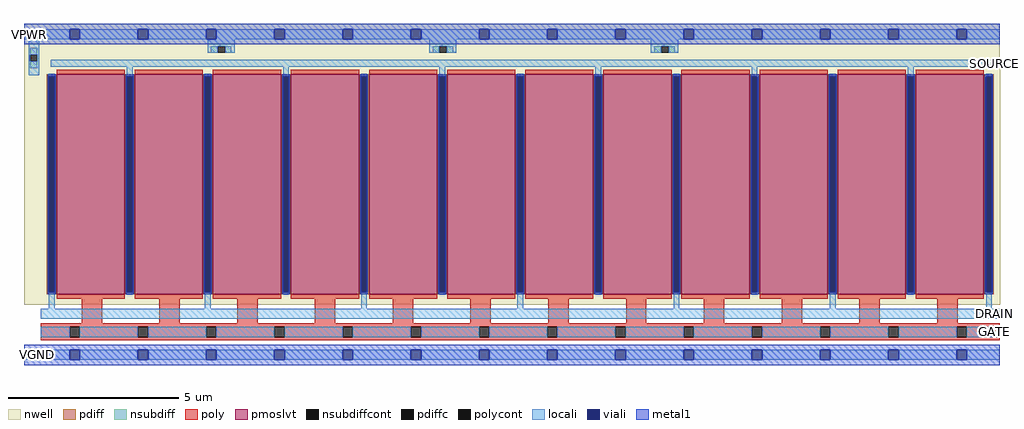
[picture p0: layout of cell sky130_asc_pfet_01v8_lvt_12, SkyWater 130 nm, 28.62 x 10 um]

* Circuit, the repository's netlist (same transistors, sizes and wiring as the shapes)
* NGSPICE file created from sky130_asc_pfet_01v8_lvt_12.ext - technology: sky130A

.subckt sky130_asc_pfet_01v8_lvt_12 GATE SOURCE DRAIN VGND VPWR
X0 SOURCE GATE DRAIN VPWR sky130_fd_pr__pfet_01v8_lvt ad=1.1223e+13p pd=8.088e+07u as=1.30935e+13p ps=9.436e+07u w=6.45e+06u l=2e+06u
X1 SOURCE GATE DRAIN VPWR sky130_fd_pr__pfet_01v8_lvt ad=0p pd=0u as=0p ps=0u w=6.45e+06u l=2e+06u
X2 DRAIN GATE SOURCE VPWR sky130_fd_pr__pfet_01v8_lvt ad=0p pd=0u as=0p ps=0u w=6.45e+06u l=2e+06u
X3 DRAIN GATE SOURCE VPWR sky130_fd_pr__pfet_01v8_lvt ad=0p pd=0u as=0p ps=0u w=6.45e+06u l=2e+06u
X4 SOURCE GATE DRAIN VPWR sky130_fd_pr__pfet_01v8_lvt ad=0p pd=0u as=0p ps=0u w=6.45e+06u l=2e+06u
X5 DRAIN GATE SOURCE VPWR sky130_fd_pr__pfet_01v8_lvt ad=0p pd=0u as=0p ps=0u w=6.45e+06u l=2e+06u
X6 DRAIN GATE SOURCE VPWR sky130_fd_pr__pfet_01v8_lvt ad=0p pd=0u as=0p ps=0u w=6.45e+06u l=2e+06u
X7 SOURCE GATE DRAIN VPWR sky130_fd_pr__pfet_01v8_lvt ad=0p pd=0u as=0p ps=0u w=6.45e+06u l=2e+06u
X8 SOURCE GATE DRAIN VPWR sky130_fd_pr__pfet_01v8_lvt ad=0p pd=0u as=0p ps=0u w=6.45e+06u l=2e+06u
X9 DRAIN GATE SOURCE VPWR sky130_fd_pr__pfet_01v8_lvt ad=0p pd=0u as=0p ps=0u w=6.45e+06u l=2e+06u
X10 DRAIN GATE SOURCE VPWR sky130_fd_pr__pfet_01v8_lvt ad=0p pd=0u as=0p ps=0u w=6.45e+06u l=2e+06u
X11 SOURCE GATE DRAIN VPWR sky130_fd_pr__pfet_01v8_lvt ad=0p pd=0u as=0p ps=0u w=6.45e+06u l=2e+06u
.ends

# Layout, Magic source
magic
tech sky130A
magscale 1 2
<< nwell >>
rect 120 1707 5842 1940
rect 120 294 5843 1707
rect 217 293 5843 294
<< pmoslvt >>
rect 311 355 711 1645
rect 769 355 1169 1645
rect 1227 355 1627 1645
rect 1685 355 2085 1645
rect 2143 355 2543 1645
rect 2601 355 3001 1645
rect 3059 355 3459 1645
rect 3517 355 3917 1645
rect 3975 355 4375 1645
rect 4433 355 4833 1645
rect 4891 355 5291 1645
rect 5349 355 5749 1645
<< pdiff >>
rect 253 1633 311 1645
rect 253 367 265 1633
rect 299 367 311 1633
rect 253 355 311 367
rect 711 1633 769 1645
rect 711 367 723 1633
rect 757 367 769 1633
rect 711 355 769 367
rect 1169 1633 1227 1645
rect 1169 367 1181 1633
rect 1215 367 1227 1633
rect 1169 355 1227 367
rect 1627 1633 1685 1645
rect 1627 367 1639 1633
rect 1673 367 1685 1633
rect 1627 355 1685 367
rect 2085 1633 2143 1645
rect 2085 367 2097 1633
rect 2131 367 2143 1633
rect 2085 355 2143 367
rect 2543 1633 2601 1645
rect 2543 367 2555 1633
rect 2589 367 2601 1633
rect 2543 355 2601 367
rect 3001 1633 3059 1645
rect 3001 367 3013 1633
rect 3047 367 3059 1633
rect 3001 355 3059 367
rect 3459 1633 3517 1645
rect 3459 367 3471 1633
rect 3505 367 3517 1633
rect 3459 355 3517 367
rect 3917 1633 3975 1645
rect 3917 367 3929 1633
rect 3963 367 3975 1633
rect 3917 355 3975 367
rect 4375 1633 4433 1645
rect 4375 367 4387 1633
rect 4421 367 4433 1633
rect 4375 355 4433 367
rect 4833 1633 4891 1645
rect 4833 367 4845 1633
rect 4879 367 4891 1633
rect 4833 355 4891 367
rect 5291 1633 5349 1645
rect 5291 367 5303 1633
rect 5337 367 5349 1633
rect 5291 355 5349 367
rect 5749 1633 5807 1645
rect 5749 367 5761 1633
rect 5795 367 5807 1633
rect 5749 355 5807 367
<< pdiffc >>
rect 265 367 299 1633
rect 723 367 757 1633
rect 1181 367 1215 1633
rect 1639 367 1673 1633
rect 2097 367 2131 1633
rect 2555 367 2589 1633
rect 3013 367 3047 1633
rect 3471 367 3505 1633
rect 3929 367 3963 1633
rect 4387 367 4421 1633
rect 4845 367 4879 1633
rect 5303 367 5337 1633
rect 5761 367 5795 1633
<< nsubdiff >>
rect 1216 1808 1336 1810
rect 158 1760 198 1800
rect 1216 1772 1256 1808
rect 1300 1772 1336 1808
rect 1216 1770 1336 1772
rect 2516 1808 2636 1810
rect 2516 1772 2556 1808
rect 2600 1772 2636 1808
rect 2516 1770 2636 1772
rect 3816 1808 3936 1810
rect 3816 1772 3856 1808
rect 3900 1772 3936 1808
rect 3816 1770 3936 1772
rect 158 1680 198 1720
<< nsubdiffcont >>
rect 1256 1772 1300 1808
rect 2556 1772 2600 1808
rect 3856 1772 3900 1808
rect 158 1720 198 1760
<< poly >>
rect 311 1645 711 1671
rect 769 1645 1169 1671
rect 1227 1645 1627 1671
rect 1685 1645 2085 1671
rect 2143 1645 2543 1671
rect 2601 1645 3001 1671
rect 3059 1645 3459 1671
rect 3517 1645 3917 1671
rect 3975 1645 4375 1671
rect 4433 1645 4833 1671
rect 4891 1645 5291 1671
rect 5349 1645 5749 1671
rect 311 329 711 355
rect 769 329 1169 355
rect 1227 329 1627 355
rect 1685 329 2085 355
rect 2143 329 2543 355
rect 2601 329 3001 355
rect 3059 329 3459 355
rect 3517 329 3917 355
rect 3975 329 4375 355
rect 4433 329 4833 355
rect 4891 329 5291 355
rect 5349 329 5749 355
rect 458 184 578 329
rect 914 184 1034 329
rect 1370 184 1490 329
rect 1826 184 1946 329
rect 2282 184 2402 329
rect 2738 184 2858 329
rect 3194 184 3314 329
rect 3650 184 3770 329
rect 4106 184 4226 329
rect 4562 184 4682 329
rect 5018 184 5138 329
rect 5474 184 5594 329
rect 218 164 5842 184
rect 218 104 388 164
rect 448 104 788 164
rect 848 104 1188 164
rect 1248 104 1588 164
rect 1648 104 1988 164
rect 2048 104 2388 164
rect 2448 104 2788 164
rect 2848 104 3188 164
rect 3248 104 3588 164
rect 3648 104 3988 164
rect 4048 104 4388 164
rect 4448 104 4788 164
rect 4848 104 5188 164
rect 5248 104 5588 164
rect 5648 104 5842 164
rect 218 84 5842 104
<< polycont >>
rect 388 104 448 164
rect 788 104 848 164
rect 1188 104 1248 164
rect 1588 104 1648 164
rect 1988 104 2048 164
rect 2388 104 2448 164
rect 2788 104 2848 164
rect 3188 104 3248 164
rect 3588 104 3648 164
rect 3988 104 4048 164
rect 4388 104 4448 164
rect 4788 104 4848 164
rect 5188 104 5248 164
rect 5588 104 5648 164
<< locali >>
rect 120 1850 388 1910
rect 448 1850 788 1910
rect 848 1850 1188 1910
rect 1248 1850 1588 1910
rect 1648 1850 1988 1910
rect 2048 1850 2388 1910
rect 2448 1850 2788 1910
rect 2848 1850 3188 1910
rect 3248 1850 3588 1910
rect 3648 1850 3988 1910
rect 4048 1850 4388 1910
rect 4448 1850 4788 1910
rect 4848 1850 5188 1910
rect 5248 1850 5588 1910
rect 5648 1850 5842 1910
rect 148 1760 208 1850
rect 1196 1808 1356 1850
rect 1196 1772 1256 1808
rect 1300 1772 1356 1808
rect 1196 1770 1356 1772
rect 2496 1808 2656 1850
rect 2496 1772 2556 1808
rect 2600 1772 2656 1808
rect 2496 1770 2656 1772
rect 3796 1808 3956 1850
rect 3796 1772 3856 1808
rect 3900 1772 3956 1808
rect 3796 1770 3956 1772
rect 148 1720 158 1760
rect 198 1720 208 1760
rect 148 1640 208 1720
rect 278 1690 5842 1730
rect 265 1633 299 1649
rect 265 270 299 367
rect 723 1633 757 1690
rect 723 351 757 367
rect 1181 1633 1215 1649
rect 1181 270 1215 367
rect 1639 1633 1673 1690
rect 1639 351 1673 367
rect 2097 1633 2131 1649
rect 2097 270 2131 367
rect 2555 1633 2589 1690
rect 2555 351 2589 367
rect 3013 1633 3047 1649
rect 3013 270 3047 367
rect 3471 1633 3505 1690
rect 3471 351 3505 367
rect 3929 1633 3963 1649
rect 3929 270 3963 367
rect 4387 1633 4421 1690
rect 4387 351 4421 367
rect 4845 1633 4879 1649
rect 4845 270 4879 367
rect 5303 1633 5337 1690
rect 5303 351 5337 367
rect 5761 1633 5795 1649
rect 5761 270 5795 367
rect 218 210 5842 270
rect 218 104 388 164
rect 448 104 788 164
rect 848 104 1188 164
rect 1248 104 1588 164
rect 1648 104 1988 164
rect 2048 104 2388 164
rect 2448 104 2788 164
rect 2848 104 3188 164
rect 3248 104 3588 164
rect 3648 104 3988 164
rect 4048 104 4388 164
rect 4448 104 4788 164
rect 4848 104 5188 164
rect 5248 104 5588 164
rect 5648 104 5842 164
rect 120 -30 388 30
rect 448 -30 788 30
rect 848 -30 1188 30
rect 1248 -30 1588 30
rect 1648 -30 1988 30
rect 2048 -30 2388 30
rect 2448 -30 2788 30
rect 2848 -30 3188 30
rect 3248 -30 3588 30
rect 3648 -30 3988 30
rect 4048 -30 4388 30
rect 4448 -30 4788 30
rect 4848 -30 5188 30
rect 5248 -30 5588 30
rect 5648 -30 5842 30
<< viali >>
rect 388 1850 448 1910
rect 788 1850 848 1910
rect 1188 1850 1248 1910
rect 1588 1850 1648 1910
rect 1988 1850 2048 1910
rect 2388 1850 2448 1910
rect 2788 1850 2848 1910
rect 3188 1850 3248 1910
rect 3588 1850 3648 1910
rect 3988 1850 4048 1910
rect 4388 1850 4448 1910
rect 4788 1850 4848 1910
rect 5188 1850 5248 1910
rect 5588 1850 5648 1910
rect 265 367 299 1633
rect 723 367 757 1633
rect 1181 367 1215 1633
rect 1639 367 1673 1633
rect 2097 367 2131 1633
rect 2555 367 2589 1633
rect 3013 367 3047 1633
rect 3471 367 3505 1633
rect 3929 367 3963 1633
rect 4387 367 4421 1633
rect 4845 367 4879 1633
rect 5303 367 5337 1633
rect 5761 367 5795 1633
rect 388 -30 448 30
rect 788 -30 848 30
rect 1188 -30 1248 30
rect 1588 -30 1648 30
rect 1988 -30 2048 30
rect 2388 -30 2448 30
rect 2788 -30 2848 30
rect 3188 -30 3248 30
rect 3588 -30 3648 30
rect 3988 -30 4048 30
rect 4388 -30 4448 30
rect 4788 -30 4848 30
rect 5188 -30 5248 30
rect 5588 -30 5648 30
<< metal1 >>
rect 120 1910 5842 1940
rect 120 1850 388 1910
rect 448 1850 788 1910
rect 848 1850 1188 1910
rect 1248 1850 1588 1910
rect 1648 1850 1988 1910
rect 2048 1850 2388 1910
rect 2448 1850 2788 1910
rect 2848 1850 3188 1910
rect 3248 1850 3588 1910
rect 3648 1850 3988 1910
rect 4048 1850 4388 1910
rect 4448 1850 4788 1910
rect 4848 1850 5188 1910
rect 5248 1850 5588 1910
rect 5648 1850 5842 1910
rect 120 1820 5842 1850
rect 259 1633 305 1645
rect 259 367 265 1633
rect 299 367 305 1633
rect 259 355 305 367
rect 717 1633 763 1645
rect 717 367 723 1633
rect 757 367 763 1633
rect 717 355 763 367
rect 1175 1633 1221 1645
rect 1175 367 1181 1633
rect 1215 367 1221 1633
rect 1175 355 1221 367
rect 1633 1633 1679 1645
rect 1633 367 1639 1633
rect 1673 367 1679 1633
rect 1633 355 1679 367
rect 2091 1633 2137 1645
rect 2091 367 2097 1633
rect 2131 367 2137 1633
rect 2091 355 2137 367
rect 2549 1633 2595 1645
rect 2549 367 2555 1633
rect 2589 367 2595 1633
rect 2549 355 2595 367
rect 3007 1633 3053 1645
rect 3007 367 3013 1633
rect 3047 367 3053 1633
rect 3007 355 3053 367
rect 3465 1633 3511 1645
rect 3465 367 3471 1633
rect 3505 367 3511 1633
rect 3465 355 3511 367
rect 3923 1633 3969 1645
rect 3923 367 3929 1633
rect 3963 367 3969 1633
rect 3923 355 3969 367
rect 4381 1633 4427 1645
rect 4381 367 4387 1633
rect 4421 367 4427 1633
rect 4381 355 4427 367
rect 4839 1633 4885 1645
rect 4839 367 4845 1633
rect 4879 367 4885 1633
rect 4839 355 4885 367
rect 5297 1633 5343 1645
rect 5297 367 5303 1633
rect 5337 367 5343 1633
rect 5297 355 5343 367
rect 5755 1633 5801 1645
rect 5755 367 5761 1633
rect 5795 367 5801 1633
rect 5755 355 5801 367
rect 120 30 5842 60
rect 120 -30 388 30
rect 448 -30 788 30
rect 848 -30 1188 30
rect 1248 -30 1588 30
rect 1648 -30 1988 30
rect 2048 -30 2388 30
rect 2448 -30 2788 30
rect 2848 -30 3188 30
rect 3248 -30 3588 30
rect 3648 -30 3988 30
rect 4048 -30 4388 30
rect 4448 -30 4788 30
rect 4848 -30 5188 30
rect 5248 -30 5588 30
rect 5648 -30 5842 30
rect 120 -60 5842 -30
<< labels >>
flabel nwell 120 1850 180 1910 1 FreeSans 800 0 0 0 VPWR
port 4 n power bidirectional
flabel metal1 120 -30 278 30 1 FreeSans 800 0 0 0 VGND
port 5 n ground bidirectional
flabel locali 5782 1690 5842 1730 1 FreeSans 800 0 0 0 SOURCE
port 2 n signal bidirectional
flabel locali 5782 210 5842 270 1 FreeSans 800 0 0 0 DRAIN
port 3 n signal bidirectional
flabel locali 5782 104 5842 164 1 FreeSans 800 0 0 0 GATE
port 1 n signal bidirectional
<< properties >>
string FIXED_BBOX 0 0 5963 1880
string LEFclass CORE
string LEFsite unitasc
<< end >>
